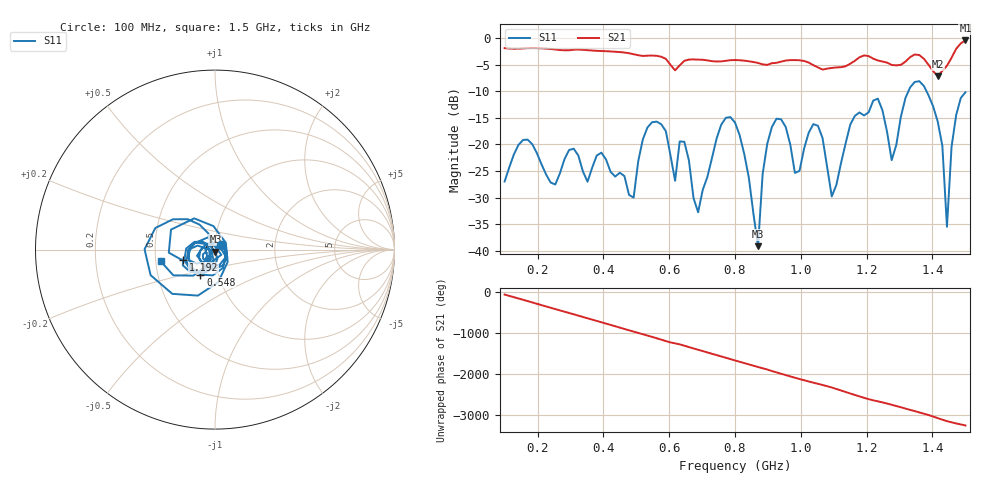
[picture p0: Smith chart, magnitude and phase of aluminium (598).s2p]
! NanoVNA-App
! Date: 2025-09-25 14:59:56
! Start: 100MHz Stop: 1,5GHz Points: 101
! S-Parameter data: F S11 S21 S12 S22
# Hz S RI R 50
!  Frequency  S11_Real  S11_Imag  S21_Real  S21_Imag  S12_Real  S12_Imag  S22_Real  S22_Imag
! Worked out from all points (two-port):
!   101 points, 100 MHz to 1.5 GHz, reference 50 ohm
!   highest |S21| = -0.47 dB at 1.5 GHz (marker M1); lowest = -7.2 dB at 1.416 GHz (marker M2)
!   |S21| within 3 dB of the highest: start of sweep to 571.6 MHz; 1.46 GHz to end of sweep (the widest 2 of 4)
!   lowest |S11| = -39.1 dB at 870 MHz (marker M3), VSWR 1.02, Z = 50.2 - j1.09 ohm
!   |S11| at or under -10 dB: start of sweep to 1.327 GHz; 1.382 GHz to end of sweep
!   S12 and S22 are empty: the file has one direction only
!   S11 on the Smith chart (normalised r, x): 100 MHz: 1.07, +0.06; 548 MHz: 0.82, -0.23; 1.192 GHz: 0.69, -0.08; 1.5 GHz: 0.53, -0.08
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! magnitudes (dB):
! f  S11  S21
! 100 MHz  -27.0  -1.9
! 156 MHz  -19.2  -2.0
! 338 MHz  -25.1  -2.2
! 492 MHz  -30.0  -3.1
! 548 MHz  -15.8  -3.3
! 576 MHz  -16.2  -3.5
! 646 MHz  -19.5  -4.3
! 688 MHz  -32.7  -4.1
! 800 MHz  -15.9  -4.1
! 870 MHz  -39.1  -4.7
! 912 MHz  -16.7  -4.7
! 982 MHz  -25.3  -4.2
! 1.038 GHz  -16.2  -5.1
! 1.094 GHz  -29.8  -5.6
! 1.192 GHz  -14.6  -3.3
! 1.234 GHz  -11.4  -4.2
! 1.276 GHz  -23.0  -5.1
! 1.346 GHz  -8.3  -3.1
! 1.416 GHz  -15.7  -7.2
! 1.444 GHz  -35.5  -5.2
! 1.458 GHz  -20.4  -3.7
! 1.5 GHz  -10.2  -0.5
